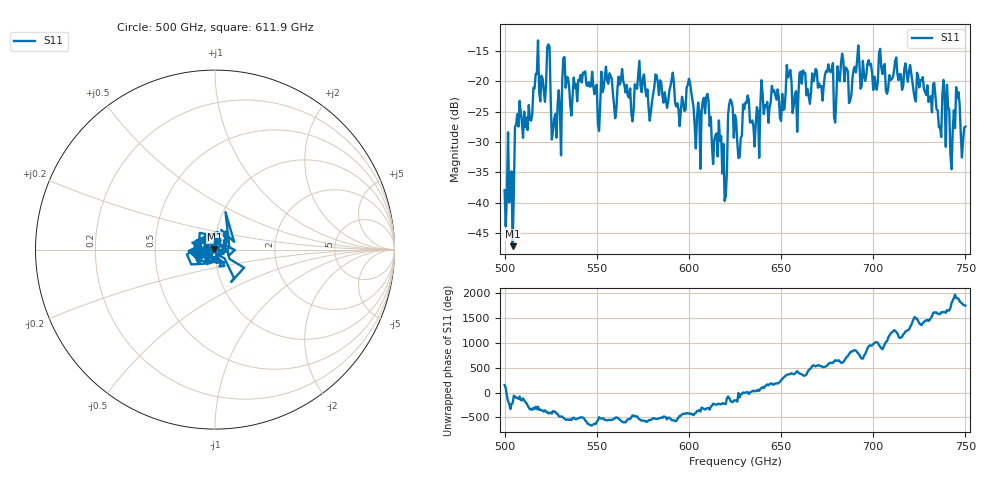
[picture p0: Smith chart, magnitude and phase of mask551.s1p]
!Created with skrf (http://scikit-rf.org).
# GHz S MA R 50.0
!freq magS11 angS11
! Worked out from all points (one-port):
!   401 points, 500 GHz to 750 GHz, reference 50 ohm
!   lowest |S11| = -47.1 dB at 504.4 GHz (marker M1), VSWR 1.01, Z = 49.6 + j0.242 ohm
!   |S11| at or under -10 dB: start of sweep to end of sweep
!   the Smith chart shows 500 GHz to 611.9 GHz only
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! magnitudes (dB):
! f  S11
! 500 GHz  -37.9
! 504.4 GHz  -47.1
! 506.9 GHz  -25.4
! 513.8 GHz  -26.3
! 516.9 GHz  -18.8
! 523.8 GHz  -13.9
! 526.9 GHz  -26.2
! 531.2 GHz  -19.9
! 562.5 GHz  -20.5
! 590.6 GHz  -19.7
! 593.8 GHz  -23.6
! 600 GHz  -19.6
! 605 GHz  -23.5
! 609.4 GHz  -22.6
! 619.4 GHz  -39.7
! 622.5 GHz  -23.0
! 625 GHz  -25.5
! 627.5 GHz  -32.5
! 630.6 GHz  -23.5
! 636.9 GHz  -24.2
! 656.2 GHz  -25.2
! 676.9 GHz  -18.5
! 680 GHz  -22.5
! 683.8 GHz  -16.6
! 687.5 GHz  -23.2
! 691.2 GHz  -16.7
! 718.8 GHz  -20.1
! 750 GHz  -27.5
